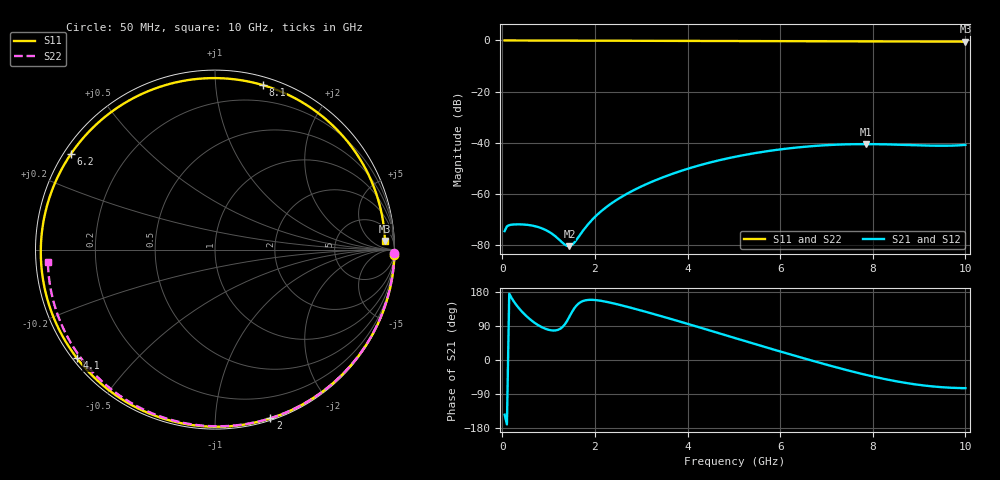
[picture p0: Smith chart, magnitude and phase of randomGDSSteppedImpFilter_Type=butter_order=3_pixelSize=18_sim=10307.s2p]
! freq	dB(S11)	phase(S11)	dB(S12)	phase(S12)
!  dB(S21)	phase(S21)	dB(S22)	phase(S22)
!S-par simulation data
#  GHz  S  DB  R 50
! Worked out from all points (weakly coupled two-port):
!   200 points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, 50 MHz to 10 GHz, reference 50 ohm
!   highest |S21| = -40.61 dB at 7.85 GHz (marker M1); lowest = -80.6 dB at 1.45 GHz (marker M2)
!   lowest |S11| = -0.5 dB at 10 GHz (marker M3), VSWR 37.48, Z = 974 + j936 ohm
!   |S11| at or under -10 dB: nowhere
!   |S22| runs from -0.6 to 0.0 dB; largest |S21 - S12| = 0
!   S11 on the Smith chart (normalised r, x): 50 MHz: 0, -62; 2 GHz: 0.02, -1.38; 4.1 GHz: 0.01, -0.35; 6.2 GHz: 0.02, +0.30; 8.1 GHz: 0.06, +1.33; 10 GHz: 19, +19
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0.05  -0.00 -1.9  -74.70 -144.4  -74.70 -144.4  -0.00 -1.0
0.1  -0.00 -3.7  -72.81 -169.9  -72.81 -169.9  -0.00 -2.0
0.2  -0.00 -7.4  -72.17 163.7  -72.17 163.7  -0.00 -3.9
0.65  -0.02 -23.9  -72.53 102.5  -72.53 102.5  -0.01 -12.7
0.95  -0.04 -34.8  -74.38 81.6  -74.38 81.6  -0.02 -18.5
1.45  -0.07 -52.6  -80.59 114.3  -80.59 114.3  -0.04 -28.0
1.55  -0.07 -56.2  -79.29 135.6  -79.29 135.6  -0.04 -29.9
1.75  -0.08 -63.2  -74.34 156.0  -74.34 156.0  -0.04 -33.7
2  -0.09 -71.8  -69.14 158.3  -69.14 158.3  -0.05 -38.4
2.6  -0.12 -92.3  -61.01 143.5  -61.01 143.5  -0.06 -49.5
3.4  -0.15 -118.9  -54.09 116.8  -54.09 116.8  -0.08 -63.9
4.1  -0.19 -141.9  -49.74 91.8  -49.74 91.8  -0.11 -76.2
5.05  -0.25 -173.5  -45.49 57.0  -45.49 57.0  -0.14 -92.4
5.65  -0.29 165.9  -43.57 35.1  -43.57 35.1  -0.17 -102.4
6.2  -0.32 146.4  -42.25 15.4  -42.25 15.4  -0.20 -111.4
6.7  -0.35 127.9  -41.38 -2.1  -41.38 -2.1  -0.24 -119.5
7.3  -0.38 105.0  -40.77 -22.2  -40.77 -22.2  -0.28 -129.3
7.85  -0.40 83.5  -40.61 -39.2  -40.61 -39.2  -0.33 -138.3
8.1  -0.41 73.7  -40.64 -46.1  -40.64 -46.1  -0.36 -142.4
8.35  -0.41 63.9  -40.73 -52.5  -40.73 -52.5  -0.38 -146.6
9.2  -0.43 31.4  -41.19 -68.6  -41.19 -68.6  -0.48 -161.1
10  -0.46 2.9  -40.91 -74.4  -40.91 -74.4  -0.60 -175.6
